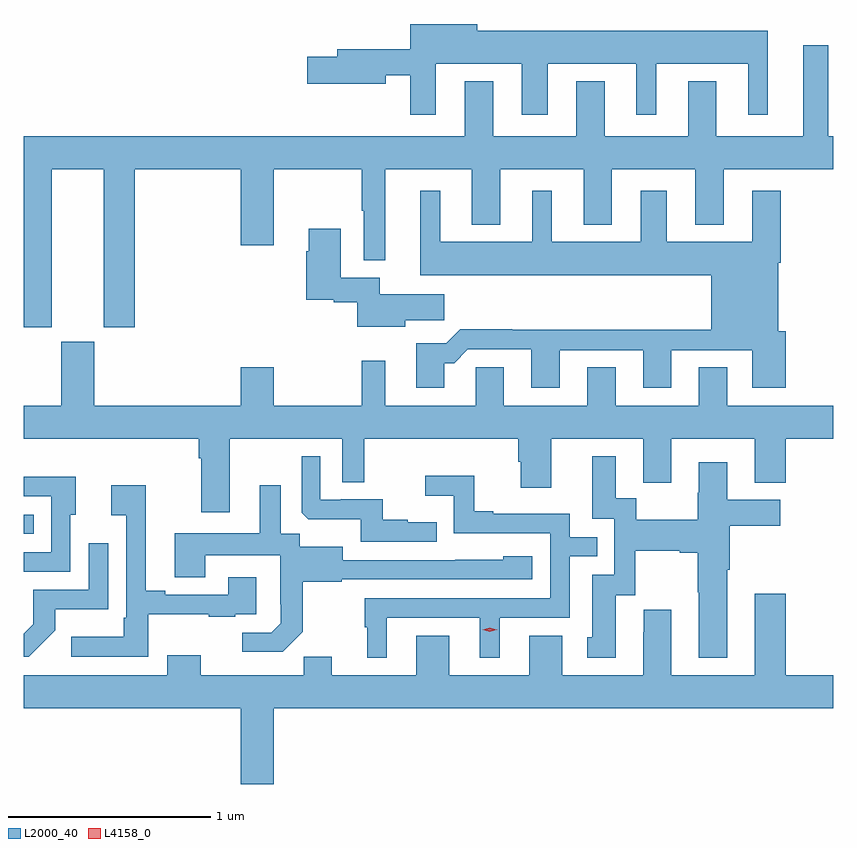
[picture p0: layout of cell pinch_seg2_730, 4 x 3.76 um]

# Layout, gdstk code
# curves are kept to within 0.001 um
import gdstk
lib = gdstk.Library(unit=1e-6, precision=1e-09)
def R(c, l, rs):  # rectangles x0, y0, x1, y1
    for r in rs: c.add(gdstk.rectangle(r[:2], r[2:], *l))
def P(c, l, *ps):  # polygons
    for p in ps: c.add(gdstk.Polygon(p, *l))
L2000_40 = (2000, 40)
L4158_0 = (4158, 0)

pinch_seg2_730 = lib.new_cell('pinch_seg2_730')
R(pinch_seg2_730, L2000_40, [(871.228,640.506,871.277,640.602)])
P(pinch_seg2_730, L2000_40, [(873.265,642.83),(873.689,642.83),(873.689,642.579),(873.817,642.579),(873.817,642.83),(874.256,642.83),(874.256,642.579),(874.354,642.579),(874.354,642.83),(874.808,642.83),(874.808,642.579),(874.906,642.579),(874.906,642.994),(873.469,642.994),(873.469,643.027),(873.137,643.027),(873.137,642.902),(872.777,642.902),(872.777,642.866),(872.628,642.866),(872.628,642.731),(873.016,642.731),(873.016,642.774),(873.137,642.774),(873.137,642.579),(873.265,642.579)],
  [(871.366,642.308),(871.622,642.308),(871.622,641.529),(871.775,641.529),(871.775,642.308),(872.3,642.308),(872.3,641.934),(872.464,641.934),(872.464,642.308),(872.899,642.308),(872.899,642.103),(872.909,642.103),(872.909,641.859),(873.013,641.859),(873.013,642.308),(873.443,642.308),(873.443,642.035),(873.583,642.035),(873.583,642.308),(873.995,642.308),(873.995,642.035),(874.135,642.035),(874.135,642.308),(874.547,642.308),(874.547,642.035),(874.687,642.035),(874.687,642.308),(875.228,642.308),(875.228,642.472),(875.203,642.472),(875.203,642.922),(875.081,642.922),(875.081,642.472),(874.651,642.472),(874.651,642.745),(874.511,642.745),(874.511,642.472),(874.099,642.472),(874.099,642.745),(873.959,642.745),(873.959,642.472),(873.547,642.472),(873.547,642.745),(873.407,642.745),(873.407,642.472),(871.228,642.472),(871.228,641.529),(871.366,641.529)],
  [(873.307,641.351),(873.356,641.351),(873.423,641.418),(873.737,641.418),(873.737,641.229),(873.877,641.229),(873.877,641.415),(874.289,641.415),(874.289,641.229),(874.429,641.229),(874.429,641.415),(874.829,641.415),(874.829,641.229),(874.994,641.229),(874.994,641.508),(874.957,641.508),(874.957,641.846),(874.97,641.846),(874.97,642.202),(874.829,642.202),(874.829,641.95),(874.405,641.95),(874.405,642.202),(874.277,642.202),(874.277,641.95),(873.838,641.95),(873.838,642.202),(873.74,642.202),(873.74,641.95),(873.286,641.95),(873.286,642.202),(873.188,642.202),(873.188,641.786),(874.625,641.786),(874.625,641.516),(873.641,641.516),(873.641,641.519),(873.386,641.519),(873.316,641.449),(873.167,641.449),(873.167,641.229),(873.307,641.229)],
  [(873.112,641.563),(873.307,641.563),(873.307,641.692),(872.986,641.692),(872.986,641.773),(872.794,641.773),(872.794,642.016),(872.636,642.016),(872.636,641.903),(872.624,641.903),(872.624,641.663),(872.76,641.663),(872.76,641.651),(872.876,641.651),(872.876,641.531),(873.112,641.531)],
  [(872.245,640.976),(872.802,640.976),(872.802,640.762),(872.911,640.762),(872.911,640.976),(873.671,640.976),(873.671,640.863),(873.683,640.863),(873.683,640.734),(873.835,640.734),(873.835,640.976),(874.289,640.976),(874.289,640.758),(874.429,640.758),(874.429,640.976),(874.841,640.976),(874.841,640.76),(874.994,640.76),(874.994,640.976),(875.228,640.976),(875.228,641.14),(874.705,641.14),(874.705,641.33),(874.565,641.33),(874.565,641.14),(874.153,641.14),(874.153,641.33),(874.013,641.33),(874.013,641.14),(873.601,641.14),(873.601,641.33),(873.462,641.33),(873.462,641.14),(873.013,641.14),(873.013,641.362),(872.899,641.362),(872.899,641.14),(872.464,641.14),(872.464,641.329),(872.3,641.329),(872.3,641.14),(871.576,641.14),(871.576,641.457),(871.412,641.457),(871.412,641.14),(871.228,641.14),(871.228,640.976),(872.093,640.976),(872.093,640.88),(872.105,640.88),(872.105,640.614),(872.245,640.614)],
  [(874.705,640.328),(874.718,640.328),(874.718,640.546),(874.966,640.546),(874.966,640.675),(874.705,640.675),(874.705,640.861),(874.565,640.861),(874.565,640.71),(874.558,640.71),(874.558,640.576),(874.255,640.576),(874.255,640.682),(874.153,640.682),(874.153,640.891),(874.037,640.891),(874.037,640.581),(874.146,640.581),(874.146,640.305),(874.037,640.305),(874.037,639.996),(874.013,639.996),(874.013,639.894),(874.153,639.894),(874.153,640.202),(874.251,640.202),(874.251,640.424),(874.469,640.424),(874.469,640.412),(874.558,640.412),(874.558,640.219),(874.565,640.219),(874.565,639.893),(874.705,639.893)],
  [(873.269,640.564),(873.125,640.564),(873.125,640.576),(873.002,640.576),(873.002,640.677),(872.794,640.677),(872.794,640.674),(872.694,640.674),(872.694,640.891),(872.601,640.891),(872.601,640.611),(872.633,640.58),(872.892,640.58),(872.892,640.467),(873.269,640.467)],
  [(873.022,640.092),(873.482,640.092),(873.482,639.893),(873.58,639.893),(873.58,640.092),(873.927,640.092),(873.927,640.395),(874.061,640.395),(874.061,640.491),(873.927,640.491),(873.927,640.605),(873.547,640.605),(873.547,640.618),(873.453,640.618),(873.453,640.793),(873.213,640.793),(873.213,640.694),(873.354,640.694),(873.354,640.509),(873.831,640.509),(873.831,640.188),(872.913,640.188),(872.913,640.044),(872.924,640.044),(872.924,639.893),(873.022,639.893)],
  [(871.458,640.602),(871.483,640.602),(871.483,640.79),(871.265,640.79),(871.265,640.788),(871.228,640.788),(871.228,640.692),(871.362,640.692),(871.362,640.416),(871.228,640.416),(871.228,640.32),(871.458,640.32)],
  [(872.607,640.023),(872.607,640.269),(872.799,640.269),(872.799,640.281),(873.742,640.281),(873.742,640.396),(873.597,640.396),(873.597,640.378),(872.803,640.377),(872.803,640.444),(872.592,640.444),(872.592,640.508),(872.497,640.508),(872.497,640.747),(872.393,640.747),(872.393,640.51),(871.973,640.51),(871.973,640.291),(872.125,640.291),(872.125,640.4),(872.496,640.4),(872.496,640.159),(872.498,640.159),(872.498,640.064),(872.451,640.017),(872.307,640.017),(872.307,639.923),(872.507,639.923)],
  [(871.843,640.109),(872.141,640.109),(872.141,640.098),(872.273,640.098),(872.273,640.11),(872.377,640.11),(872.377,640.291),(872.237,640.291),(872.237,640.206),(871.927,640.206),(871.927,640.225),(871.831,640.225),(871.831,640.747),(871.659,640.747),(871.659,640.598),(871.734,640.598),(871.734,640.093),(871.722,640.093),(871.722,639.997),(871.461,639.997),(871.461,639.9),(871.843,639.9)],
  [(871.383,640.031),(871.383,640.133),(871.644,640.133),(871.644,640.459),(871.548,640.459),(871.548,640.23),(871.275,640.23),(871.275,640.059),(871.228,640.012),(871.228,639.9),(871.252,639.9)],
  [(872.464,639.644),(875.228,639.644),(875.228,639.808),(874.994,639.808),(874.994,640.21),(874.841,640.21),(874.841,639.808),(874.429,639.808),(874.429,640.132),(874.292,640.132),(874.292,640.019),(874.289,640.019),(874.289,639.808),(873.889,639.808),(873.889,640.003),(873.725,640.003),(873.725,639.808),(873.331,639.808),(873.331,640.003),(873.167,640.003),(873.167,639.808),(872.749,639.808),(872.749,639.899),(872.611,639.899),(872.611,639.808),(872.101,639.808),(872.101,639.907),(871.937,639.907),(871.937,639.808),(871.228,639.808),(871.228,639.644),(872.3,639.644),(872.3,639.27),(872.464,639.27)])
P(pinch_seg2_730, L4158_0, [(873.531,640.022),(873.495,640.032),(873.495,640.032),(873.495,640.032),(873.531,640.042),(873.566,640.032),(873.567,640.032),(873.566,640.032)])

lib.write_gds('pinch_seg2_730.gds')
